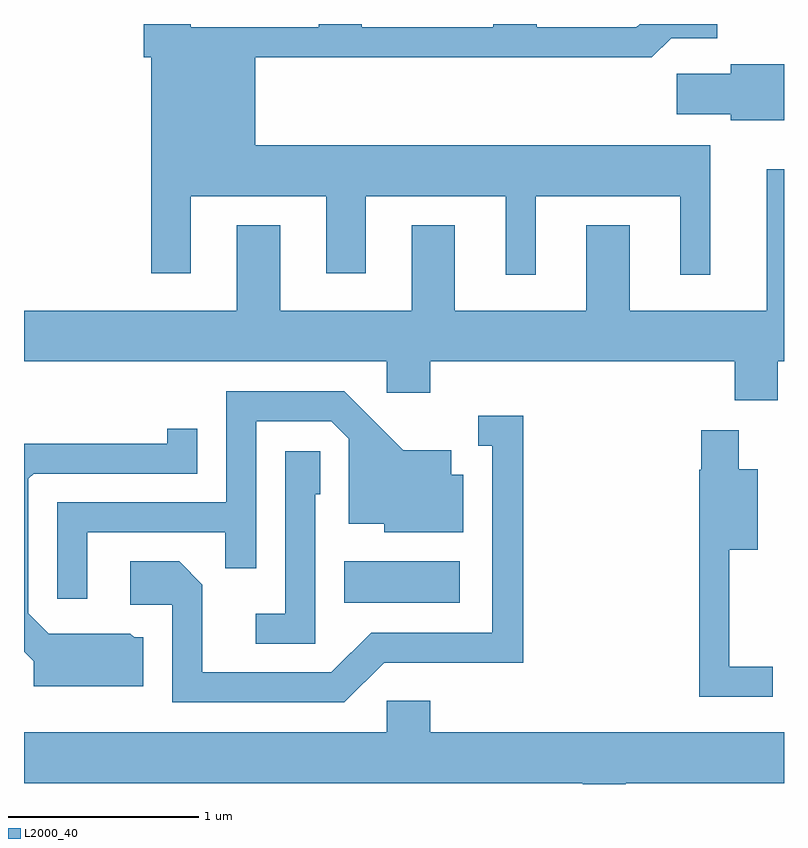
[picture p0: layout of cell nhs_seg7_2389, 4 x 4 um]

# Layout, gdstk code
import gdstk
lib = gdstk.Library(unit=1e-6, precision=1e-09)
def R(c, l, rs):  # rectangles x0, y0, x1, y1
    for r in rs: c.add(gdstk.rectangle(r[:2], r[2:], *l))
def P(c, l, *ps):  # polygons
    for p in ps: c.add(gdstk.Polygon(p, *l))
L2000_40 = (2000, 40)

nhs_seg7_2389 = lib.new_cell('nhs_seg7_2389')
R(nhs_seg7_2389, L2000_40, [(259.296,1775.206,259.904,1775.424)])
P(nhs_seg7_2389, L2000_40, [(260.304,1777.346),(261.066,1777.346),(261.066,1776.933),(261.224,1776.933),(261.224,1777.614),(258.829,1777.614),(258.829,1778.076),(260.916,1778.076),(261.017,1778.176),(261.259,1778.176),(261.259,1778.252),(260.852,1778.252),(260.834,1778.234),(260.309,1778.234),(260.309,1778.252),(260.081,1778.252),(260.081,1778.234),(259.389,1778.234),(259.389,1778.252),(259.161,1778.252),(259.161,1778.234),(258.489,1778.234),(258.489,1778.252),(258.241,1778.252),(258.241,1778.076),(258.281,1778.076),(258.281,1776.941),(258.489,1776.941),(258.489,1777.346),(259.201,1777.346),(259.201,1776.941),(259.409,1776.941),(259.409,1777.346),(260.146,1777.346),(260.146,1776.933),(260.304,1776.933)],
  [(261.611,1778.039),(261.331,1778.039),(261.331,1777.989),(261.046,1777.989),(261.046,1777.776),(261.331,1777.776),(261.331,1777.746),(261.611,1777.746)],
  [(261.579,1776.476),(261.611,1776.476),(261.611,1777.488),(261.521,1777.488),(261.521,1776.744),(260.799,1776.744),(260.799,1777.194),(260.571,1777.194),(260.571,1776.744),(259.879,1776.744),(259.879,1777.194),(259.651,1777.194),(259.651,1776.744),(258.959,1776.744),(258.959,1777.194),(258.731,1777.194),(258.731,1776.744),(257.611,1776.744),(257.611,1776.476),(259.521,1776.476),(259.521,1776.311),(259.749,1776.311),(259.749,1776.476),(261.351,1776.476),(261.351,1776.271),(261.579,1776.271)],
  [(257.944,1775.576),(258.671,1775.576),(258.671,1775.388),(258.834,1775.388),(258.834,1776.161),(259.229,1776.161),(259.321,1776.069),(259.321,1775.621),(259.506,1775.621),(259.506,1775.576),(259.924,1775.576),(259.924,1775.879),(259.859,1775.879),(259.859,1776.009),(259.606,1776.009),(259.296,1776.319),(258.676,1776.319),(258.676,1775.734),(257.786,1775.734),(257.786,1775.228),(257.944,1775.228)],
  [(259.507,1774.891),(260.239,1774.891),(260.239,1776.189),(260.003,1776.189),(260.003,1776.031),(260.076,1776.031),(260.076,1775.049),(259.439,1775.049),(259.229,1774.839),(258.549,1774.839),(258.549,1775.302),(258.427,1775.424),(258.171,1775.424),(258.171,1775.196),(258.391,1775.196),(258.391,1774.681),(259.296,1774.681)],
  [(258.239,1775.024),(258.192,1775.024),(258.171,1775.044),(257.742,1775.044),(257.634,1775.152),(257.634,1775.859),(257.662,1775.886),(258.524,1775.886),(258.524,1776.123),(258.366,1776.123),(258.366,1776.044),(257.611,1776.044),(257.611,1774.949),(257.661,1774.899),(257.661,1774.766),(258.239,1774.766)],
  [(261.553,1774.869),(261.324,1774.869),(261.324,1775.486),(261.474,1775.486),(261.474,1775.909),(261.374,1775.909),(261.374,1776.114),(261.176,1776.114),(261.176,1775.905),(261.166,1775.905),(261.166,1774.711),(261.553,1774.711)],
  [(259.144,1775.776),(259.169,1775.776),(259.169,1776.004),(258.986,1776.004),(258.986,1775.149),(258.832,1775.149),(258.832,1774.991),(259.144,1774.991)],
  [(260.779,1774.256),(261.611,1774.256),(261.611,1774.524),(259.749,1774.524),(259.749,1774.689),(259.521,1774.689),(259.521,1774.524),(257.611,1774.524),(257.611,1774.256),(260.551,1774.256),(260.551,1774.252),(260.779,1774.252)])

lib.write_gds('nhs_seg7_2389.gds')
